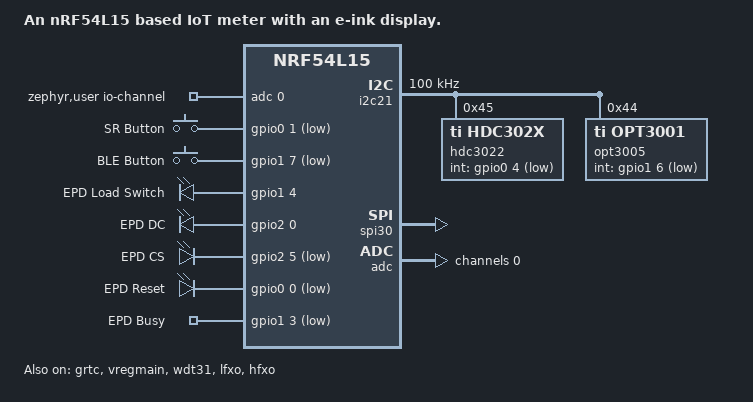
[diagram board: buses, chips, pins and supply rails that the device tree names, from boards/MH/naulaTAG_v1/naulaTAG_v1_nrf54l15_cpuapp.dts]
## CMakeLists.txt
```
#
# Copyright (c) 2026 Nordic Semiconductor
# SPDX-License-Identifier: LicenseRef-Nordic-5-Clause
#
cmake_minimum_required(VERSION 3.20.0)

find_package(Zephyr REQUIRED HINTS $ENV{ZEPHYR_BASE})
project(naulaTAG)

# ── Application sources ────────────────────────────────────────────────
target_sources(app PRIVATE
    src/main.c
    src/display.c
    src/epd_hal.c
    src/epd_cog.c
    src/storage.c
    src/ble.c
)

# ── Include paths ──────────────────────────────────────────────────────
target_include_directories(app PRIVATE
    src
)
```

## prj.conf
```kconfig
#
# naulaTAG project configuration — PRODUCTION
# Target: nRF54L15, IoT temperature/humidity meter with e-ink display
#
# This file is the shipping configuration: no logging, no RTT, no console.  On
# this SoC a build left with debug and logging enabled idles around two orders
# of magnitude above the sleep current, which turns a multi-year battery life
# into months.
#
# For bring-up and debugging, add the overlay:
#     west build -b naulaTAG_v1/nrf54l15/cpuapp -- -DEXTRA_CONF_FILE=overlay-debug.conf
#

# ── GPIO / I2C / SPI ──────────────────────────────────────────────────
CONFIG_GPIO=y
CONFIG_I2C=y
CONFIG_SPI=y
CONFIG_ADC=y

# ── Watchdog ──────────────────────────────────────────────────────────
# Last-resort recovery: the display path can block the system workqueue, and a
# device that stops measuring must reboot itself rather than sit there flat.
CONFIG_WATCHDOG=y

# ── Sensors ───────────────────────────────────────────────────────────
CONFIG_SENSOR=y

# HDC3022 temperature+humidity (NCS 3.x driver)
CONFIG_TI_HDC302X=y

# OPT3005 light sensor (register-compatible with OPT3001).
# Trigger support is deliberately NOT enabled: the threshold interrupt requires
# the sensor to convert continuously (1.8-3.7 uA against 0.3 uA in shutdown) and
# would hold a third GPIOTE channel open.  main.c drives the sensor in
# single-shot mode over I2C instead and reads it every 10 minutes.
CONFIG_OPT300X=y

# ── Persistent storage ────────────────────────────────────────────────
# ZMS rather than NVS: it is designed for non-erasable media like the nRF54L's
# RRAM, where NVS would emulate erases by writing 0xFF and waste write cycles.
CONFIG_FLASH=y
CONFIG_FLASH_MAP=y
CONFIG_FLASH_PAGE_LAYOUT=y
CONFIG_ZMS=y

# ── Power management ──────────────────────────────────────────────────
# CONFIG_PM stays off on purpose — see the comment at the top of main.c.
CONFIG_PM_DEVICE=y
CONFIG_PM_DEVICE_RUNTIME=y

# ── Clocks: use 32.768 kHz XTAL for RTC / low-power sleep ─────────────
CONFIG_CLOCK_CONTROL=y
CONFIG_CLOCK_CONTROL_NRF=y
CONFIG_CLOCK_CONTROL_NRF_K32SRC_XTAL=y
CONFIG_CLOCK_CONTROL_NRF_K32SRC_20PPM=y

# ── Bluetooth ─────────────────────────────────────────────────────────
# Default state is a short non-connectable BTHome v2 burst after each
# measurement; the BLE button opens a 30 s connectable window backed by the
# Environmental Sensing and Battery services.  See ble.c.
CONFIG_BT=y
CONFIG_BT_PERIPHERAL=y
CONFIG_BT_DEVICE_NAME="naulaTAG"
# 768 = Generic Sensor (Bluetooth appearance value)
CONFIG_BT_DEVICE_APPEARANCE=768
CONFIG_BT_MAX_CONN=1

# Battery Service — ble.c pushes a level derived from the SAADC VDD reading.
CONFIG_BT_BAS=y

# ── Stack sizes ───────────────────────────────────────────────────────
CONFIG_SYSTEM_WORKQUEUE_STACK_SIZE=2048
CONFIG_MAIN_STACK_SIZE=2048

# ── No console, no logging, no debug transport ────────────────────────
CONFIG_SERIAL=n
CONFIG_CONSOLE=n
CONFIG_UART_CONSOLE=n
CONFIG_LOG=n
CONFIG_USE_SEGGER_RTT=n
CONFIG_LOG_BACKEND_RTT=n
CONFIG_LOG_BACKEND_UART=n
```

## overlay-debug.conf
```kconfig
#
# naulaTAG — bring-up / debug overlay
#
# Turns the logging that prj.conf strips for production back on, over Segger
# RTT so no pins or UART are needed.  Build with:
#
#     west build -b naulaTAG_v1/nrf54l15/cpuapp -- -DEXTRA_CONF_FILE=overlay-debug.conf
#
# Then attach with `JLinkRTTViewer`, or `west attach` / nRF Connect's terminal.
#
# Do NOT measure battery current with this overlay applied — logging and a live
# debug transport dominate the idle current and the numbers will be meaningless.
# Flash a plain `west build` image for any power measurement.
#

CONFIG_LOG=y
# 0=off 1=ERR 2=WRN 3=INF 4=DBG
CONFIG_LOG_DEFAULT_LEVEL=4

CONFIG_USE_SEGGER_RTT=y
CONFIG_LOG_BACKEND_RTT=y

# Deferred logging keeps the measurement path from blocking on RTT writes; the
# log thread drains the buffer once the workqueue is idle again.
CONFIG_LOG_MODE_DEFERRED=y

# Assertions catch the BTHome payload-length check in ble.c and Zephyr's own
# internal invariants.  Worth the flash during bring-up, not in production.
CONFIG_ASSERT=y

# Fault handlers print a usable register dump and stack trace instead of
# silently resetting.
CONFIG_RESET_ON_FATAL_ERROR=n
CONFIG_THREAD_NAME=y
```

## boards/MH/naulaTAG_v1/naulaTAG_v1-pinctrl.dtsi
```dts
/*
 * Copyright (c) 2026 Nordic Semiconductor ASA
 *
 * SPDX-License-Identifier: LicenseRef-Nordic-5-Clause
 */

#include <dt-bindings/pinctrl/nrf-pinctrl.h>

&pinctrl {
	/* I2C for HDC3022 (0x45) and OPT3005 (0x44)
	 * SDA = P1.10, SCL = P1.12 */
	i2c21_default: i2c21_default {
		group1 {
			psels = <NRF_PSEL(TWIM_SDA, 1, 10)>,
				<NRF_PSEL(TWIM_SCL, 1, 12)>;
			bias-pull-up;
		};
	};
	i2c21_sleep: i2c21_sleep {
		group1 {
			psels = <NRF_PSEL(TWIM_SDA, 1, 10)>,
				<NRF_PSEL(TWIM_SCL, 1, 12)>;
			/* Keep the internal pull-ups on while suspended.  pinctrl's
			 * low-power branch forces dir=input + buffer=disconnect but
			 * still applies the pull, so the nRF draws nothing and the
			 * lines are held high rather than floating.  This board has
			 * no external pull-ups, so without it SDA/SCL float between
			 * measurements and the sensors' input buffers sit mid-rail. */
			bias-pull-up;
			low-power-enable;
		};
	};

	/* SPI for E2206KS0E1 e-ink display
	 * SCK = P2.01, MOSI = P2.02 (CS and DC are software GPIO) */
	spi30_default: spi30_default {
		group1 {
			psels = <NRF_PSEL(SPIM_SCK, 2, 1)>,
					<NRF_PSEL(SPIM_MOSI, 2, 2)>;
			/* High drive is critical for speeds > 8 MHz */
			nordic,drive-mode = <NRF_DRIVE_H0H1>;
		};
	};

	spi30_sleep: spi30_sleep {
		group1 {
			psels = <NRF_PSEL(SPIM_SCK, 2, 1)>,
					<NRF_PSEL(SPIM_MOSI, 2, 2)>;
			low-power-enable;
		};
	};
};
```

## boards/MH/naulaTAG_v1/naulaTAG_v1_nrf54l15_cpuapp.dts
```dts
/dts-v1/;

#include <nordic/nrf54l15_cpuapp.dtsi>
#include <dt-bindings/gpio/gpio.h>
#include "naulaTAG_v1-pinctrl.dtsi"

/ {
	model = "An nRF54L15 based IoT meter with an e-ink display.";
	compatible = "MH,naulaTAG-v1-cpuapp";

	chosen {
		zephyr,code-partition = &slot0_partition;
		zephyr,sram = &cpuapp_sram;
		zephyr,flash = &cpuapp_rram;
		zephyr,flash-controller = &rram_controller;
	};

	aliases {
		sr-button   = &sr_button;
		ble-button  = &ble_button;
		epd-load-sw = &epd_load_sw;
		epd-busy    = &epd_busy;
		epd-dc      = &epd_dc;
		epd-cs      = &epd_cs;
		epd-rst     = &epd_rst;
	};

	/* Consumer node: lets ADC_DT_SPEC_GET resolve channel@0 config from DTS */
	zephyr,user {
		io-channels = <&adc 0>;
	};

	buttons {
		compatible = "gpio-keys";
		/* SRButton: P0.01, active-low with internal pull-up */
		sr_button: sr_button {
			gpios = <&gpio0 1 (GPIO_ACTIVE_LOW | GPIO_PULL_UP)>;
			label = "SR Button";
		};
		/* BLEButton: P1.07, active-low with internal pull-up */
		ble_button: ble_button {
			gpios = <&gpio1 7 (GPIO_ACTIVE_LOW | GPIO_PULL_UP)>;
			label = "BLE Button";
		};
	};

	epd_gpios {
		compatible = "gpio-leds";
		/* Load switch for display power rail: P1.04, active-high */
		epd_load_sw: epd_load_sw {
			gpios = <&gpio1 4 GPIO_ACTIVE_HIGH>;
			label = "EPD Load Switch";
		};
		/* SPI data/command select: P2.00, active-high = data */
		epd_dc: epd_dc {
			gpios = <&gpio2 0 GPIO_ACTIVE_HIGH>;
			label = "EPD DC";
		};
		/* SPI chip-select: P2.05, active-low */
		epd_cs: epd_cs {
			gpios = <&gpio2 5 GPIO_ACTIVE_LOW>;
			label = "EPD CS";
		};
		/* Panel reset RST_N: P0.00, active-low.
		 * Ordinary GPIO on nRF54L15 — unlike nRF52, the reset function is
		 * not routable to it via UICR or GPIO CTRLSEL. */
		epd_rst: epd_rst {
			gpios = <&gpio0 0 GPIO_ACTIVE_LOW>;
			label = "EPD Reset";
		};
	};

	epd_inputs {
		compatible = "gpio-keys";
		/* BUSY_N: P1.03, active-low (panel busy when LOW) */
		epd_busy: epd_busy {
			gpios = <&gpio1 3 GPIO_ACTIVE_LOW>;
			label = "EPD Busy";
		};
	};
};

&grtc {
	owned-channels = <0 1 2 3 4 5 6 7 8 9 10 11>;
	/* Channels 7-11 reserved for Zero Latency IRQs, 3-4 for FLPR */
	child-owned-channels = <3 4 7 8 9 10 11>;
	status = "okay";
};

&cpuapp_sram {
	status = "okay";
};

&cpuapp_rram {
	partitions {
		compatible = "fixed-partitions";
		#address-cells = <1>;
		#size-cells = <1>;

		boot_partition: partition@0 {
			label = "mcuboot";
			reg = <0x0 DT_SIZE_K(64)>;
		};

		slot0_partition: partition@10000 {
			label = "image-0";
			reg = <0x10000 DT_SIZE_K(664)>;
		};

		slot1_partition: partition@b6000 {
			label = "image-1";
			reg = <0xb6000 DT_SIZE_K(664)>;
		};

		storage_partition: partition@15c000 {
			label = "storage";
			reg = <0x15c000 DT_SIZE_K(36)>;
		};
	};
};

/* ── I2C bus ─────────────────────────────────────────────────────────── */
&i2c21 {
	compatible = "nordic,nrf-twim";
	status = "okay";
	pinctrl-0 = <&i2c21_default>;
	pinctrl-1 = <&i2c21_sleep>;
	pinctrl-names = "default", "sleep";
	/* Standard mode (100 kHz), not Fast mode.  naulaTAG_v1 has no external
	 * SDA/SCL pull-ups: the bus is held high only by the nRF internal
	 * pull-ups (~13 kOhm typ).  Into the ~30 pF of bus capacitance that is
	 * a ~330 ns rise time, which exceeds the 300 ns Fast-mode limit but sits
	 * well inside the 1000 ns Standard-mode limit.  Two short sensor reads
	 * every 10 minutes make the extra bus time free.
	 * Fit 10 kOhm external pull-ups to go back to I2C_BITRATE_FAST. */
	clock-frequency = <I2C_BITRATE_STANDARD>;
	zephyr,pm-device-runtime-auto;

	hdc3022: hdc3022@45 {
		compatible = "ti,hdc302x";
		reg = <0x45>;
		int-gpios = <&gpio0 4 GPIO_ACTIVE_LOW>;
		status = "okay";
	};

	opt3005: opt3005@44 {
		compatible = "ti,opt3001";
		reg = <0x44>;
		int-gpios = <&gpio1 6 (GPIO_ACTIVE_LOW | GPIO_PULL_UP)>;
		status = "okay";
	};
};

/* ── SPI bus (CS and DC controlled by software) ─────────────────────── */
&spi30 {
    compatible = "nordic,nrf-spim";
    status = "okay";
    pinctrl-0 = <&spi30_default>;
    pinctrl-1 = <&spi30_sleep>;
    pinctrl-names = "default", "sleep";
    zephyr,pm-device-runtime-auto;

	/* 
    epd: e2206ks0e1@0 {
        compatible = "mh,e2206ks0e1";
        reg = <0>;
        // Cap at 16 MHz to respect the display's limits
        spi-max-frequency = <16000000>;
        
        busy-gpios = <&gpio1 3 GPIO_ACTIVE_HIGH>;
        dc-gpios   = <&gpio2 0 GPIO_ACTIVE_HIGH>;
        cs-gpios   = <&gpio2 5 GPIO_ACTIVE_LOW>;
        
        sck-gpios  = <&gpio2 1 GPIO_ACTIVE_HIGH>;
        mosi-gpios = <&gpio2 2 GPIO_ACTIVE_HIGH>;
    };
	*/
};


/* ── Main supply regulator ───────────────────────────────────────────── */
/*
 * Enable the internal DC/DC (SMPS).  The board fits L2 = 4.7 uH between
 * DCC (pin 46) and DECD (pin 45) for exactly this, but vregmain defaults
 * to status = "disabled" with regulator-initial-mode = LDO, so without
 * this node the SoC runs off the LDO and draws roughly twice the active
 * current — straight off a CR2 primary cell.
 */
&vregmain {
    status = "okay";
    regulator-initial-mode = <NRF5X_REG_MODE_DCDC>;
};

/* ── Watchdog ─────────────────────────────────────────────────────────── */
&wdt31 {
    status = "okay";
};

/* ── Enable GPIO Controllers ─────────────────────────────────────────── */
&gpio0 {
    status = "okay";
};

&gpio1 {
    status = "okay";
};

&gpio2 {
    status = "okay";
};

/* ── Enable GPIOTE (Hardware Interrupts) ─────────────────────────────── */
&gpiote20 {
    status = "okay";
};

&gpiote30 {
    status = "okay";
};

/* ── Enable Hardware Oscillators & Clock Controller ──────────────────── */
&clock {
    status = "okay";
};

/* Internal load capacitors.  The value programmed here is the CRYSTAL's
 * rated load capacitance (CL) — the driver derives the internal cap
 * setting from it.  Over-stating CL loads the crystal too heavily and
 * pulls the frequency low, which is why these must track the BOM. */

/* Y1 = Abracon ABS06N-32.768KHZ-9-T:  CL = 9 pF, +/-20 ppm */
&lfxo {
    status = "okay";
    load-capacitors = "internal";
    load-capacitance-femtofarad = <9000>;
};

/* Y2 = Murata XRCGB32M000F1S2AR0:  CL = 8 pF, 32 MHz */
&hfxo {
    status = "okay";
    load-capacitors = "internal";
    load-capacitance-femtofarad = <8000>;
};

/* ── Enable SAADC Measurements ────────────────────────────────────────── */
&adc {
    status = "okay";
    #address-cells = <1>;
    #size-cells = <0>;

    channel@0 {
        reg = <0>;
        zephyr,gain = "ADC_GAIN_1_6";
        zephyr,reference = "ADC_REF_INTERNAL";
        zephyr,acquisition-time = <ADC_ACQ_TIME_DEFAULT>;
        zephyr,input-positive = <NRF_SAADC_VDD>; /* Crucial: points to internal VDD */
        zephyr,resolution = <12>;
    };
};
```

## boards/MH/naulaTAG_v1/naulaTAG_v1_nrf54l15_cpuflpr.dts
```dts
/dts-v1/;

#include <nordic/nrf54l15_cpuflpr.dtsi>
#include "naulaTAG_v1-pinctrl.dtsi"

/ {
	model = "An nRF54L15 based IoT meter with an e-ink display.";
	compatible = "MH,naulaTAG-v1-cpuflpr";

	chosen {
		zephyr,code-partition = &cpuflpr_code_partition;
		zephyr,flash = &cpuflpr_rram;
		zephyr,sram = &cpuflpr_sram;
	};
};

&cpuflpr_sram {
	status = "okay";
	reg = <0x20028000 DT_SIZE_K(96)>;
	ranges = <0x0 0x20028000 DT_SIZE_K(96)>;
};

&cpuflpr_rram {
	partitions {
		compatible = "fixed-partitions";
		#address-cells = <1>;
		#size-cells = <1>;
		ranges;

		cpuflpr_code_partition: partition@0 {
			label = "image-0";
			reg = <0x0 DT_SIZE_K(96)>;
		};
	};
};

&grtc {
	owned-channels = <3 4>;
	status = "okay";
};
```

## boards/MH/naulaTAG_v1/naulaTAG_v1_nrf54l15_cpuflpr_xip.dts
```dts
#include "naulaTAG_v1_nrf54l15_cpuflpr.dts"

/ {
	compatible = "MH,naulaTAG-v1-cpuflpr-xip";
};

&cpuflpr_sram {
	reg = <0x2002f000 DT_SIZE_K(68)>;
	ranges = <0x0 0x2002f000 DT_SIZE_K(68)>;
};
```

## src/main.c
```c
/*
 * naulaTAG — IoT temperature/humidity/light meter
 *
 * Hardware: nRF54L15-QFAA-R7
 * SRButton  (P0.01) — immediate measurement
 * BLEButton (P1.07) — interactive BLE window
 * HDC3022 (I2C 0x45) — temperature + humidity
 * OPT3005 (I2C 0x44) — ambient light, single-shot (INT on P1.06 unused)
 * E2206KS0E1 (SPI)   — 2.06" e-ink display
 * LoadSwitch (P1.04) — display power rail
 *
 * Power strategy:
 * CPU sleeps indefinitely (k_sleep(K_FOREVER)) and the idle thread drops the
 * core into System ON IDLE via WFI, with RAM and the GRTC retained.  Note that
 * CONFIG_PM is deliberately off: this SoC defines no DT power-states in NCS
 * 3.3, so the PM subsystem would have nothing deeper to select, and the 24 h
 * history plus the 10 min GRTC wakeup both need RAM and the timer alive.
 * Wakeup sources: GPIO interrupt (buttons), GRTC timer (periodic measurement).
 * Display is powered only during screen updates and skipped entirely when
 * ambient light is below DARK_THRESH_LOWER_LUX.
 * BLE beacons a short BTHome burst after each measurement; the button opens a
 * connectable window.  See ble.c.
 */

#include <zephyr/kernel.h>
#include <zephyr/device.h>
#include <zephyr/drivers/gpio.h>
#include <zephyr/drivers/i2c.h>
#include <zephyr/drivers/sensor.h>
#include <zephyr/drivers/adc.h>
#include <zephyr/logging/log.h>
#include <zephyr/pm/device.h>
#include <zephyr/drivers/watchdog.h>

#include <stdlib.h>

#include "ble.h"
#include "display.h"
#include "storage.h"

LOG_MODULE_REGISTER(main, LOG_LEVEL_INF);

/* ── Measurement interval ─────────────────────────────────────────────── */
#define MEASURE_INTERVAL_S  600

/* Button debounce.  Each contact bounce re-arms the delay, so the handler runs
 * once, this long after the last edge.  Without it a bounce arriving while the
 * handler is already running re-queues it — which on the BLE button toggles
 * advertising on and straight back off within a single press. */
#define BUTTON_DEBOUNCE_MS  50

/* Watchdog window.  Fed once per measurement rather than from a periodic tick:
 * a dedicated feeder would have to wake the CPU far more often than the 10 min
 * measurement interval, which is exactly the cost this design avoids.  The
 * margin over MEASURE_INTERVAL_S covers a slow display refresh plus the panel
 * BUSY timeout. */
#define WDT_TIMEOUT_S       (MEASURE_INTERVAL_S + 300)

/* Ambient light hysteresis thresholds (lux).  Hysteresis keeps the display from
 * refreshing every other cycle when the room sits right at the boundary. */
#define DARK_THRESH_LOWER_LUX  3U
#define DARK_THRESH_UPPER_LUX  7U

/* ── OPT3005 conversion control ───────────────────────────────────────── */
/*
 * The Zephyr opt300x driver puts the sensor in CONTINUOUS conversion at init and
 * exposes no way to change that — no PM hooks, no attribute for the mode.  Left
 * alone it converts 24/7 for 1.8 uA in the dark and 3.7 uA in bright light,
 * against 0.3 uA shut down.  On a CR2 that is one of the largest standby terms
 * in the design, and the reading is only used once every 10 minutes.
 *
 * So the mode is driven directly over I2C here.  Config register 0x01, 16-bit
 * big-endian:
 *   [15:12] RN = 0xC  automatic full-scale ranging
 *   [11]    CT = 1    800 ms conversion (better low-light resolution than the
 *                     100 ms setting; the CPU sleeps through it, so it is free)
 *   [10:9]  M         00 shutdown, 01 single-shot, 11 continuous
 *   [4]     L  = 1    latched window comparator (register reset default)
 *
 * Single-shot returns the device to shutdown by itself once the conversion
 * completes, so only the boot-time write is needed to undo the driver's
 * continuous mode; after that each cycle just kicks one conversion.
 */
#define OPT3005_I2C_ADDR        0x44
#define OPT3005_REG_CONFIG      0x01
#define OPT3005_CFG_SHUTDOWN    0xC810
#define OPT3005_CFG_SINGLE_SHOT 0xCA10
/* 800 ms conversion plus margin for the sensor's internal timing. */
#define OPT3005_CONV_WAIT_MS    900

static const struct device *i2c_bus = DEVICE_DT_GET(DT_NODELABEL(i2c21));

static int opt3005_write_config(uint16_t cfg)
{
    /* Register pointer then the value, MSB first. */
    uint8_t buf[3] = {
        OPT3005_REG_CONFIG,
        (uint8_t)(cfg >> 8),
        (uint8_t)(cfg & 0xFF),
    };

    return i2c_write(i2c_bus, buf, sizeof(buf), OPT3005_I2C_ADDR);
}

/* ── Device handles ───────────────────────────────────────────────────── */
static const struct gpio_dt_spec sr_btn =
    GPIO_DT_SPEC_GET(DT_ALIAS(sr_button), gpios);
static const struct gpio_dt_spec ble_btn =
    GPIO_DT_SPEC_GET(DT_ALIAS(ble_button), gpios);
static const struct gpio_dt_spec load_sw =
    GPIO_DT_SPEC_GET(DT_ALIAS(epd_load_sw), gpios);

static const struct device *hdc = DEVICE_DT_GET(DT_NODELABEL(hdc3022));
static const struct device *opt = DEVICE_DT_GET(DT_NODELABEL(opt3005));
static const struct device *wdt = DEVICE_DT_GET(DT_NODELABEL(wdt31));

/* Negative until the watchdog is installed and running. */
static int wdt_channel = -1;

/* ── Work items ────────────────────────────────────────────────────────── */
/*
 * A measurement holds its thread for the whole panel refresh — seconds, and up
 * to the BUSY timeout when the panel misbehaves.  It therefore runs on its own
 * queue, so a button press does not sit behind it.  The priority matches the
 * system workqueue's, keeping preemption behaviour identical; only the queueing
 * changes.
 */
#define MEASURE_WQ_STACK_SIZE  2048

K_THREAD_STACK_DEFINE(measure_wq_stack, MEASURE_WQ_STACK_SIZE);
static struct k_work_q measure_wq;

static struct k_work_delayable measure_work;     /* on measure_wq            */
static struct k_work_delayable ble_button_work;  /* on the system workqueue  */

/* ── Timers ────────────────────────────────────────────────────────────── */
static struct k_timer measure_timer;

/* ── ADC (battery voltage via internal VDD channel) ───────────────────── */
static const struct adc_dt_spec adc_vdd =
    ADC_DT_SPEC_GET(DT_PATH(zephyr_user));

/* ── Measurement state ─────────────────────────────────────────────────── */
static int32_t  last_temp_mdeg  = 0;
static uint32_t last_humid_mpct = 0;
static uint32_t last_lux        = 0;   /* integer lux */
static uint32_t last_voltage_mv = 0;

/* ── 24-hour temperature history (circular buffer) ─────────────────────── */
#define HISTORY_SIZE  DISPLAY_HIST_SIZE   /* 144 × 10 min = 24 h */

static int32_t  temp_hist[HISTORY_SIZE];
static uint16_t hist_head  = 0;   /* next write position    */
static uint16_t hist_count = 0;   /* valid entries, 0..144  */

/* ── Measurement ──────────────────────────────────────────────────────── */
static void do_measure(struct k_work *w)
{
    (void)w;
    int rc;

    /* 0. Feed the watchdog.  Reaching here proves the workqueue is still
     * scheduling; if anything below wedges it, this never runs again and the
     * SoC resets.  Fed at the top so the early return for darkness is covered
     * too. */
    if (wdt_channel >= 0) {
        (void)wdt_feed(wdt, wdt_channel);
    }

    /* 1. Kick the OPT3005 conversion first, so its 800 ms runs concurrently
     * with the reads below instead of serialising after them. */
    bool opt_started = (opt3005_write_config(OPT3005_CFG_SINGLE_SHOT) == 0);
    int64_t opt_kicked_at = k_uptime_get();

    if (!opt_started) {
        LOG_WRN("OPT3005 single-shot trigger failed");
    }

    /* 2. Read temperature and humidity. */
    struct sensor_value temp, humid;

    rc = sensor_sample_fetch(hdc);
    if (rc) {
        LOG_ERR("HDC fetch failed: %d", rc);
    } else {
        sensor_channel_get(hdc, SENSOR_CHAN_AMBIENT_TEMP, &temp);
        sensor_channel_get(hdc, SENSOR_CHAN_HUMIDITY,     &humid);
        last_temp_mdeg  = temp.val1  * 1000 + temp.val2  / 1000;
        last_humid_mpct = humid.val1 * 1000 + humid.val2 / 1000;
    }

    /* 3. Read battery voltage via internal SAADC VDD channel. */
    (void)pm_device_action_run(adc_vdd.dev, PM_DEVICE_ACTION_RESUME);
    {
        int16_t adc_raw = 0;
        struct adc_sequence adc_seq = {
            .buffer      = &adc_raw,
            .buffer_size = sizeof(adc_raw),
        };
        adc_sequence_init_dt(&adc_vdd, &adc_seq);
        rc = adc_read(adc_vdd.dev, &adc_seq);
        if (rc != 0) {
            LOG_WRN("ADC read failed: %d", rc);
        } else if (adc_raw < 0) {
            LOG_WRN("ADC returned negative sample: %d", adc_raw);
        } else {
            /* Derive the scaling from the DT channel rather than hardcoding it:
             * the nRF54L internal reference is 900 mV, not the 600 mV of the
             * nRF52 series, so gain 1/6 gives a 5.4 V full scale. */
            int32_t mv = adc_raw;
            rc = adc_raw_to_millivolts_dt(&adc_vdd, &mv);
            if (rc == 0) {
                last_voltage_mv = (uint32_t)mv;
            } else {
                LOG_WRN("ADC conversion failed: %d", rc);
            }
        }
    }
    /* Suspend explicitly to stop SAADC from leaking ~1mA */
    (void)pm_device_action_run(adc_vdd.dev, PM_DEVICE_ACTION_SUSPEND);

    /* 4. Collect the light reading.  Sleep out whatever is left of the
     * conversion — the CPU idles through it, and the sensor puts itself back
     * into shutdown once the conversion completes. */
    if (opt_started) {
        int64_t elapsed = k_uptime_get() - opt_kicked_at;

        if (elapsed < OPT3005_CONV_WAIT_MS) {
            k_sleep(K_MSEC(OPT3005_CONV_WAIT_MS - elapsed));
        }

        struct sensor_value lux_val = {0};

        rc = sensor_sample_fetch(opt);
        if (rc) {
            LOG_WRN("OPT fetch failed: %d", rc);
        } else {
            sensor_channel_get(opt, SENSOR_CHAN_LIGHT, &lux_val);
            last_lux = (uint32_t)lux_val.val1;
        }
    }

    /* 5. Store temperature in the circular history buffer. */
    temp_hist[hist_head] = last_temp_mdeg;
    hist_head = (hist_head + 1) % HISTORY_SIZE;
    if (hist_count < HISTORY_SIZE) {
        hist_count++;
    }

    (void)storage_update_minmax(last_temp_mdeg);

    /* Persist the history on a slow cadence — hourly at the default interval.
     * Every cycle would be 144 writes/day for data whose value is mostly in the
     * last hour of it. */
    static uint32_t measure_count;
    if ((measure_count % STORAGE_HISTORY_SAVE_EVERY) == 0) {
        (void)storage_save_history(temp_hist, hist_count, hist_head);
    }
    measure_count++;

    LOG_INF("T=%d.%03d°C  RH=%d.%03d%%  L=%u lux  VDD=%u mV",
            (int)(last_temp_mdeg / 1000), (int)(abs(last_temp_mdeg) % 1000),
            (int)(last_humid_mpct / 1000), (int)(last_humid_mpct % 1000),
            last_lux, last_voltage_mv);

    /* 6. Publish over BLE: refreshes the BTHome payload and the GATT values,
     * then beacons a short burst. */
    ble_publish(last_temp_mdeg, last_humid_mpct, last_lux, last_voltage_mv);

    /* 7. Night mode: skip the display entirely if it is too dark to read.
     * Hysteresis is applied against whether the display is currently blanked, so
     * the panel does not flap when the room sits at the threshold. */
    static bool display_blanked;

    if (display_blanked) {
        if (last_lux < DARK_THRESH_UPPER_LUX) {
            LOG_DBG("still dark (%u lux) — display update skipped", last_lux);
            return;
        }
        display_blanked = false;
    } else if (last_lux < DARK_THRESH_LOWER_LUX) {
        LOG_INF("dark (%u lux) — display update skipped", last_lux);
        display_blanked = true;
        return;
    }

    /* 8. Power on display */
    gpio_pin_set_dt(&load_sw, 1);
    k_sleep(K_MSEC(10));

    /* 9. Update display (init on first call).
     * Both steps are retried on the next cycle rather than latched off, so a
     * panel that misses one update recovers by itself. */
    static bool display_initialized = false;
    if (!display_initialized) {
        rc = display_init();
        if (rc) {
            LOG_ERR("display init failed: %d — retrying next cycle", rc);
        } else {
            display_initialized = true;
        }
    }

    if (display_initialized) {
        rc = display_update(last_temp_mdeg, last_humid_mpct,
                            last_voltage_mv,
                            temp_hist, hist_count, hist_head);
        if (rc) {
            LOG_ERR("display update failed: %d — reinitialising next cycle", rc);
            display_initialized = false;
        }
    }

    /* 10. Float every panel-facing pin BEFORE opening the load switch.
     * This is panel protection, not just a power optimisation: a pin left
     * driven at 3 V into an unpowered panel pushes current through the
     * driver's input ESD clamps into the dead VDD rail.  R2-R5 (22 R) do not
     * prevent that, and RST_N has no series resistor at all.  Keep the order. */
    display_power_off();
    gpio_pin_set_dt(&load_sw, 0);
}

/* ── BLE button ───────────────────────────────────────────────────────── */
static void do_ble_button(struct k_work *w)
{
    (void)w;
    ble_start_interactive();
}

/* ── Timer callbacks (run in ISR — only submit work) ─────────────────── */
static void measure_timer_cb(struct k_timer *t)
{
    (void)t;
    /* schedule, not reschedule: never push out a debounce already counting
     * down for a button press — one run serves both. */
    k_work_schedule_for_queue(&measure_wq, &measure_work, K_NO_WAIT);
}

/* ── GPIO interrupt callbacks ─────────────────────────────────────────── */
static struct gpio_callback sr_cb_data;
static struct gpio_callback ble_cb_data;

static void sr_button_isr(const struct device *dev,
                          struct gpio_callback *cb, uint32_t pins)
{
    (void)dev; (void)cb; (void)pins;
    k_work_reschedule_for_queue(&measure_wq, &measure_work,
                                K_MSEC(BUTTON_DEBOUNCE_MS));
}

static void ble_button_isr(const struct device *dev,
                           struct gpio_callback *cb, uint32_t pins)
{
    (void)dev; (void)cb; (void)pins;
    k_work_reschedule(&ble_button_work, K_MSEC(BUTTON_DEBOUNCE_MS));
}

/* ── Main ─────────────────────────────────────────────────────────────── */
int main(void)
{
    /* Load switch first, before anything else can take time.  IC1's ON pin has
     * no external pull-down, so from SoC reset until this line runs it floats
     * and the display rail is in an undefined state — which matters most after
     * a watchdog reset taken mid-refresh.  This shortens that window to the
     * Zephyr init sequence; only a ~100 k pull-down on the LoadSwitch net
     * closes it completely. */
    gpio_pin_configure_dt(&load_sw, GPIO_OUTPUT_INACTIVE);

    LOG_INF("naulaTAG starting");

    /* Undo the opt300x driver's continuous-conversion init.  Every reading from
     * here on is an explicit single shot. */
    if (device_is_ready(i2c_bus)) {
        if (opt3005_write_config(OPT3005_CFG_SHUTDOWN) != 0) {
            LOG_WRN("OPT3005 shutdown write failed — sensor may stay continuous");
        }
    } else {
        LOG_ERR("I2C bus not ready");
    }

    if (device_is_ready(adc_vdd.dev)) {
        (void)pm_device_action_run(adc_vdd.dev, PM_DEVICE_ACTION_SUSPEND);
    }

    /* Persistent history and all-time extremes. */
    if (storage_init() == 0) {
        uint16_t count, head;

        if (storage_load_history(temp_hist, &count, &head) == 0) {
            hist_count = count;
            hist_head = head;
        }
    } else {
        LOG_WRN("storage unavailable — history will not persist");
    }

    /* Buttons: input with interrupt on falling edge (active-low) */
    gpio_pin_configure_dt(&sr_btn,  GPIO_INPUT);
    gpio_pin_configure_dt(&ble_btn, GPIO_INPUT);

    gpio_pin_interrupt_configure_dt(&sr_btn,  GPIO_INT_EDGE_FALLING);
    gpio_pin_interrupt_configure_dt(&ble_btn, GPIO_INT_EDGE_FALLING);

    gpio_init_callback(&sr_cb_data,  sr_button_isr,  BIT(sr_btn.pin));
    gpio_init_callback(&ble_cb_data, ble_button_isr, BIT(ble_btn.pin));

    gpio_add_callback(sr_btn.port,  &sr_cb_data);
    gpio_add_callback(ble_btn.port, &ble_cb_data);

    /* Work items.  The measurement queue must exist before any timer or
     * interrupt can schedule onto it. */
    k_work_queue_start(&measure_wq, measure_wq_stack,
                       K_THREAD_STACK_SIZEOF(measure_wq_stack),
                       CONFIG_SYSTEM_WORKQUEUE_PRIORITY, NULL);

    k_work_init_delayable(&measure_work,    do_measure);
    k_work_init_delayable(&ble_button_work, do_ble_button);

    /* Periodic measurement timer */
    k_timer_init(&measure_timer, measure_timer_cb, NULL);
    k_timer_start(&measure_timer, K_SECONDS(1), K_SECONDS(MEASURE_INTERVAL_S));

    /* Watchdog: install before anything can block, but after the timers exist
     * so the first feed is only a second away.  Pauses under a debugger. */
    if (!device_is_ready(wdt)) {
        LOG_ERR("watchdog not ready — running unprotected");
    } else {
        struct wdt_timeout_cfg wdt_cfg = {
            .window   = { .min = 0U, .max = WDT_TIMEOUT_S * 1000U },
            .callback = NULL,
            .flags    = WDT_FLAG_RESET_SOC,
        };

        wdt_channel = wdt_install_timeout(wdt, &wdt_cfg);
        if (wdt_channel < 0) {
            LOG_ERR("wdt_install_timeout failed: %d", wdt_channel);
        } else if (wdt_setup(wdt, WDT_OPT_PAUSE_HALTED_BY_DBG) != 0) {
            LOG_ERR("wdt_setup failed — running unprotected");
            wdt_channel = -1;
        } else {
            LOG_INF("watchdog armed, %d s", WDT_TIMEOUT_S);
        }
    }

    (void)ble_init();

    /* A failure here leaves the battery reading at 0 mV for the whole session,
     * so it must be visible rather than silent. */
    if (!adc_is_ready_dt(&adc_vdd)) {
        LOG_ERR("ADC device not ready — battery voltage unavailable");
    } else {
        int rc = adc_channel_setup_dt(&adc_vdd);

        if (rc) {
            LOG_ERR("ADC channel setup failed: %d", rc);
        }
    }

    /* Sleep forever — woken by GPIO interrupts or timers. */
    k_sleep(K_FOREVER);
    return 0;
}
```

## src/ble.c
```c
/*
 * BTHome v2 beacon + Environmental Sensing / Battery GATT.  See ble.h.
 */

#include "ble.h"

#include <zephyr/kernel.h>
#include <zephyr/bluetooth/bluetooth.h>
#include <zephyr/bluetooth/conn.h>
#include <zephyr/bluetooth/gatt.h>
#include <zephyr/bluetooth/uuid.h>
#include <zephyr/bluetooth/services/bas.h>
#include <zephyr/logging/log.h>
#include <zephyr/sys/byteorder.h>

#include <string.h>

LOG_MODULE_REGISTER(ble, LOG_LEVEL_INF);

/* ── Timing ─────────────────────────────────────────────────────────────── */

/* Long enough that a hub almost certainly catches one packet, short enough that
 * the radio is off for >99% of the measurement interval. */
#define BEACON_BURST_MS       3000
#define INTERACTIVE_MS       30000

/* ── BTHome v2 ──────────────────────────────────────────────────────────── */
/*
 * Service data under UUID 0xFCD2.  Layout is a device-information byte followed
 * by (object id, little-endian value) pairs which MUST be in ascending object-id
 * order — receivers rely on that to skip object ids they do not know.
 *
 * Object ids, types and factors per the BTHome v2 spec:
 *   0x00 packet id    uint8    x1
 *   0x01 battery      uint8    x1      %
 *   0x02 temperature  sint16   x0.01   deg C
 *   0x03 humidity     uint16   x0.01   %
 *   0x05 illuminance  uint24   x0.01   lux
 *   0x0C voltage      uint16   x0.001  V
 */
#define BTHOME_UUID16          0xFCD2
/* bit0 encryption=0, bit2 trigger=0, bits5-7 version=2 */
#define BTHOME_DEVICE_INFO     0x40

#define BTHOME_ID_PACKET       0x00
#define BTHOME_ID_BATTERY      0x01
#define BTHOME_ID_TEMPERATURE  0x02
#define BTHOME_ID_HUMIDITY     0x03
#define BTHOME_ID_ILLUMINANCE  0x05
#define BTHOME_ID_VOLTAGE      0x0C

/* 1 + 2 + 2 + 3 + 3 + 4 + 3.  With the 2-byte UUID and the AD header this is 22
 * of the 31 legacy advertising bytes, which is why the beacon carries no device
 * name — it would need 10 more and BTHome does not need it (hubs key off the
 * address).  The name rides in the interactive advertisement instead. */
#define BTHOME_PAYLOAD_LEN     18

static uint8_t bthome_payload[BTHOME_PAYLOAD_LEN];
static uint8_t bthome_packet_id;

/* Illuminance is uint24 in centi-lux, so this is the largest value that fits. */
#define ILLUMINANCE_CENTI_MAX  0xFFFFFFU

static void bthome_build(int32_t temp_mdeg, uint32_t humid_mpct,
			 uint32_t lux, uint32_t vdd_mv, uint8_t battery_pct)
{
	/* Round to the stored resolution rather than truncating, so 23.999 C reads
	 * as 24.00 rather than 23.99. */
	int32_t t_centi = (temp_mdeg >= 0) ? (temp_mdeg + 5) / 10 : (temp_mdeg - 5) / 10;
	uint32_t h_centi = (humid_mpct + 5) / 10;
	uint32_t l_centi = lux;
	uint8_t *p = bthome_payload;

	if (t_centi > INT16_MAX) {
		t_centi = INT16_MAX;
	} else if (t_centi < INT16_MIN) {
		t_centi = INT16_MIN;
	}
	if (h_centi > UINT16_MAX) {
		h_centi = UINT16_MAX;
	}
	/* lux -> centi-lux can overflow uint24 above ~167 klx; clamp instead. */
	if (l_centi > ILLUMINANCE_CENTI_MAX / 100U) {
		l_centi = ILLUMINANCE_CENTI_MAX;
	} else {
		l_centi *= 100U;
	}
	if (vdd_mv > UINT16_MAX) {
		vdd_mv = UINT16_MAX;
	}

	*p++ = BTHOME_DEVICE_INFO;

	/* One id per measurement, repeated across the burst, so a hub collapses the
	 * duplicate packets into a single update. */
	*p++ = BTHOME_ID_PACKET;
	*p++ = bthome_packet_id++;

	*p++ = BTHOME_ID_BATTERY;
	*p++ = battery_pct;

	*p++ = BTHOME_ID_TEMPERATURE;
	sys_put_le16((uint16_t)(int16_t)t_centi, p);
	p += 2;

	*p++ = BTHOME_ID_HUMIDITY;
	sys_put_le16((uint16_t)h_centi, p);
	p += 2;

	*p++ = BTHOME_ID_ILLUMINANCE;
	*p++ = (uint8_t)(l_centi & 0xFF);
	*p++ = (uint8_t)((l_centi >> 8) & 0xFF);
	*p++ = (uint8_t)((l_centi >> 16) & 0xFF);

	*p++ = BTHOME_ID_VOLTAGE;
	sys_put_le16((uint16_t)vdd_mv, p);
	p += 2;

	__ASSERT(p == bthome_payload + BTHOME_PAYLOAD_LEN,
		 "BTHome payload length mismatch");
}

/* ── Advertising data ───────────────────────────────────────────────────── */

/*
 * BT_DATA_BYTES cannot express a runtime buffer, so the service-data element is
 * built by hand: 2 bytes of little-endian UUID followed by the payload.
 */
static uint8_t svc_data[2 + BTHOME_PAYLOAD_LEN];

/* Guards the beacon against a future field being added past the legacy limit:
 * the element costs a length byte and a type byte on top of the buffer. */
BUILD_ASSERT(2 + sizeof(svc_data) <= 31,
	     "BTHome service data element exceeds the 31-byte legacy adv limit");

static struct bt_data ad_beacon_rt[] = {
	{ .type = BT_DATA_SVC_DATA16,
	  .data_len = sizeof(svc_data),
	  .data = svc_data },
};

/*
 * Legacy advertising allows 31 bytes, and flags (3) + name (10) + BTHome service
 * data (22) is 35.  Since interactive mode is connectable it is also scannable,
 * so the service data goes in the scan response: a phone sees the name in the
 * advertisement, and nothing is lost.
 */
static const struct bt_data ad_interactive[] = {
	BT_DATA_BYTES(BT_DATA_FLAGS, (BT_LE_AD_GENERAL | BT_LE_AD_NO_BREDR)),
	BT_DATA(BT_DATA_NAME_COMPLETE, CONFIG_BT_DEVICE_NAME,
		sizeof(CONFIG_BT_DEVICE_NAME) - 1),
};

static struct bt_data sd_interactive[] = {
	{ .type = BT_DATA_SVC_DATA16,
	  .data_len = sizeof(svc_data),
	  .data = svc_data },
};

/*
 * USE_IDENTITY on both: hubs identify a BTHome device by its Bluetooth address,
 * so a rotating private address would make it reappear as a new device.  With
 * CONFIG_BT_PRIVACY off this is already the behaviour, but stating it means a
 * later privacy build cannot silently break the integration.
 */
#define ADV_BEACON_PARAM                                                       \
	BT_LE_ADV_PARAM(BT_LE_ADV_OPT_USE_IDENTITY,                            \
			BT_GAP_ADV_SLOW_INT_MIN, BT_GAP_ADV_SLOW_INT_MAX, NULL)

#define ADV_INTERACTIVE_PARAM                                                  \
	BT_LE_ADV_PARAM(BT_LE_ADV_OPT_CONN | BT_LE_ADV_OPT_USE_IDENTITY,       \
			BT_GAP_ADV_FAST_INT_MIN_2, BT_GAP_ADV_FAST_INT_MAX_2, NULL)

/* ── State ──────────────────────────────────────────────────────────────── */

enum adv_state {
	ADV_OFF,
	ADV_BEACON,
	ADV_INTERACTIVE,
};

static enum adv_state adv_state;
static bool ready;
static uint8_t conn_count;

static void adv_stop_work_fn(struct k_work *work);
static K_WORK_DELAYABLE_DEFINE(adv_stop_work, adv_stop_work_fn);

/* Guards the advertising state against the measurement thread and the button
 * work racing each other. */
static K_MUTEX_DEFINE(adv_lock);

/* ── Cached sensor values for GATT reads ────────────────────────────────── */

static int16_t  ess_temp_centi;   /* 0.01 deg C, sint16  */
static uint16_t ess_humid_centi;  /* 0.01 %,     uint16  */
static uint32_t ess_illum_centi;  /* 0.01 lux,   uint24  */

static ssize_t read_u16(struct bt_conn *conn, const struct bt_gatt_attr *attr,
			void *buf, uint16_t len, uint16_t offset)
{
	uint8_t le[2];

	sys_put_le16(*(const uint16_t *)attr->user_data, le);
	return bt_gatt_attr_read(conn, attr, buf, len, offset, le, sizeof(le));
}

static ssize_t read_u24(struct bt_conn *conn, const struct bt_gatt_attr *attr,
			void *buf, uint16_t len, uint16_t offset)
{
	uint32_t v = *(const uint32_t *)attr->user_data;
	uint8_t le[3] = {
		(uint8_t)(v & 0xFF),
		(uint8_t)((v >> 8) & 0xFF),
		(uint8_t)((v >> 16) & 0xFF),
	};

	return bt_gatt_attr_read(conn, attr, buf, len, offset, le, sizeof(le));
}

/* Illuminance (0x2AFB) has no BT_UUID_* macro in this SDK. */
#define BT_UUID_ILLUMINANCE  BT_UUID_DECLARE_16(0x2AFB)

BT_GATT_SERVICE_DEFINE(ess_svc,
	BT_GATT_PRIMARY_SERVICE(BT_UUID_ESS),

	BT_GATT_CHARACTERISTIC(BT_UUID_TEMPERATURE,
			       BT_GATT_CHRC_READ | BT_GATT_CHRC_NOTIFY,
			       BT_GATT_PERM_READ,
			       read_u16, NULL, &ess_temp_centi),
	BT_GATT_CCC(NULL, BT_GATT_PERM_READ | BT_GATT_PERM_WRITE),

	BT_GATT_CHARACTERISTIC(BT_UUID_HUMIDITY,
			       BT_GATT_CHRC_READ | BT_GATT_CHRC_NOTIFY,
			       BT_GATT_PERM_READ,
			       read_u16, NULL, &ess_humid_centi),
	BT_GATT_CCC(NULL, BT_GATT_PERM_READ | BT_GATT_PERM_WRITE),

	BT_GATT_CHARACTERISTIC(BT_UUID_ILLUMINANCE,
			       BT_GATT_CHRC_READ | BT_GATT_CHRC_NOTIFY,
			       BT_GATT_PERM_READ,
			       read_u24, NULL, &ess_illum_centi),
	BT_GATT_CCC(NULL, BT_GATT_PERM_READ | BT_GATT_PERM_WRITE),
);

/* ── Battery estimate ───────────────────────────────────────────────────── */
/*
 * A CR2 (Li-MnO2) holds ~2.9-3.0 V for most of its life then falls off a cliff,
 * so no linear map from open-circuit voltage is honest.  This table is shaped to
 * that curve: nearly flat at the top, steep at the bottom.  It is still only an
 * estimate — measuring the sag under the display-refresh load would track the
 * cell's rising internal resistance and give a far better state of charge.
 */
static uint8_t battery_percent(uint32_t mv)
{
	static const struct { uint16_t mv; uint8_t pct; } curve[] = {
		{ 3050, 100 }, { 3000, 90 }, { 2950, 75 }, { 2900, 60 },
		{ 2850, 45 },  { 2800, 30 }, { 2700, 15 }, { 2600, 5 },
		{ 2400, 0 },
	};

	if (mv >= curve[0].mv) {
		return 100;
	}
	for (size_t i = 1; i < ARRAY_SIZE(curve); i++) {
		if (mv >= curve[i].mv) {
			/* Linear inside the bracket we landed in. */
			uint32_t span_mv = curve[i - 1].mv - curve[i].mv;
			uint32_t span_pct = curve[i - 1].pct - curve[i].pct;

			return (uint8_t)(curve[i].pct +
					 ((mv - curve[i].mv) * span_pct + span_mv / 2) / span_mv);
		}
	}
	return 0;
}

/* ── Advertising control ────────────────────────────────────────────────── */

/* Caller must hold adv_lock. */
static int adv_restart(enum adv_state want)
{
	const struct bt_data *ad;
	size_t ad_len;
	int rc;

	if (adv_state != ADV_OFF) {
		rc = bt_le_adv_stop();
		if (rc) {
			LOG_WRN("bt_le_adv_stop: %d", rc);
		}
		adv_state = ADV_OFF;
	}

	if (want == ADV_OFF) {
		return 0;
	}

	if (want == ADV_INTERACTIVE) {
		ad = ad_interactive;
		ad_len = ARRAY_SIZE(ad_interactive);
		rc = bt_le_adv_start(ADV_INTERACTIVE_PARAM, ad, ad_len,
				     sd_interactive, ARRAY_SIZE(sd_interactive));
	} else {
		ad = ad_beacon_rt;
		ad_len = ARRAY_SIZE(ad_beacon_rt);
		rc = bt_le_adv_start(ADV_BEACON_PARAM, ad, ad_len, NULL, 0);
	}

	if (rc) {
		LOG_ERR("bt_le_adv_start(%d): %d", (int)want, rc);
		return rc;
	}

	adv_state = want;
	return 0;
}

static void adv_stop_work_fn(struct k_work *work)
{
	ARG_UNUSED(work);

	k_mutex_lock(&adv_lock, K_FOREVER);

	/* A live connection outlives its advertising window — dropping the link
	 * because a timer expired would be hostile. */
	if (conn_count > 0) {
		k_work_reschedule(&adv_stop_work, K_MSEC(INTERACTIVE_MS));
		k_mutex_unlock(&adv_lock);
		return;
	}

	(void)adv_restart(ADV_OFF);
	k_mutex_unlock(&adv_lock);
}

/* ── Connection callbacks ───────────────────────────────────────────────── */

static void on_connected(struct bt_conn *conn, uint8_t err)
{
	if (err) {
		LOG_ERR("BLE connect error %u", err);
		return;
	}

	k_mutex_lock(&adv_lock, K_FOREVER);
	conn_count++;
	/* The controller stops advertising on connect. */
	adv_state = ADV_OFF;
	k_mutex_unlock(&adv_lock);

	LOG_INF("BLE connected");
}

static void on_disconnected(struct bt_conn *conn, uint8_t reason)
{
	LOG_INF("BLE disconnected (reason %u)", reason);

	k_mutex_lock(&adv_lock, K_FOREVER);
	if (conn_count > 0) {
		conn_count--;
	}
	/* Give the user another window to reconnect, then fall silent. */
	(void)adv_restart(ADV_INTERACTIVE);
	k_work_reschedule(&adv_stop_work, K_MSEC(INTERACTIVE_MS));
	k_mutex_unlock(&adv_lock);
}

BT_CONN_CB_DEFINE(conn_cbs) = {
	.connected = on_connected,
	.disconnected = on_disconnected,
};

/* ── Public API ─────────────────────────────────────────────────────────── */

int ble_init(void)
{
	int rc;

	/* Publish something valid before the radio comes up, so a hub that catches
	 * the very first burst does not read zeros. */
	svc_data[0] = (uint8_t)(BTHOME_UUID16 & 0xFF);
	svc_data[1] = (uint8_t)(BTHOME_UUID16 >> 8);
	bthome_build(0, 0, 0, 0, 0);
	memcpy(&svc_data[2], bthome_payload, sizeof(bthome_payload));

	rc = bt_enable(NULL);
	if (rc) {
		LOG_ERR("bt_enable failed: %d", rc);
		return rc;
	}

	ready = true;
	LOG_INF("BLE ready (BTHome v2 beacon + ESS/BAS)");
	return 0;
}

void ble_publish(int32_t temp_mdeg, uint32_t humid_mpct, uint32_t lux, uint32_t vdd_mv)
{
	uint8_t pct = battery_percent(vdd_mv);
	uint32_t l_centi;

	if (!ready) {
		return;
	}

	/* GATT cache (read back by a connected client). */
	ess_temp_centi = (int16_t)((temp_mdeg >= 0) ? (temp_mdeg + 5) / 10
						   : (temp_mdeg - 5) / 10);
	ess_humid_centi = (uint16_t)((humid_mpct + 5) / 10);
	l_centi = (lux > ILLUMINANCE_CENTI_MAX / 100U) ? ILLUMINANCE_CENTI_MAX : lux * 100U;
	ess_illum_centi = l_centi;

	(void)bt_bas_set_battery_level(pct);

	bthome_build(temp_mdeg, humid_mpct, lux, vdd_mv, pct);
	memcpy(&svc_data[2], bthome_payload, sizeof(bthome_payload));

	k_mutex_lock(&adv_lock, K_FOREVER);

	if (adv_state == ADV_INTERACTIVE || conn_count > 0) {
		/* Leave the interactive window alone; just refresh what it carries so a
		 * phone sitting on the connection sees live values. */
		if (adv_state == ADV_INTERACTIVE) {
			int rc = bt_le_adv_update_data(ad_interactive,
						       ARRAY_SIZE(ad_interactive),
						       sd_interactive,
						       ARRAY_SIZE(sd_interactive));
			if (rc) {
				LOG_WRN("adv update failed: %d", rc);
			}
		}
	} else {
		if (adv_restart(ADV_BEACON) == 0) {
			k_work_reschedule(&adv_stop_work, K_MSEC(BEACON_BURST_MS));
		}
	}

	k_mutex_unlock(&adv_lock);
}

void ble_start_interactive(void)
{
	if (!ready) {
		return;
	}

	k_mutex_lock(&adv_lock, K_FOREVER);
	if (adv_restart(ADV_INTERACTIVE) == 0) {
		k_work_reschedule(&adv_stop_work, K_MSEC(INTERACTIVE_MS));
		LOG_INF("interactive advertising, %d s", INTERACTIVE_MS / 1000);
	}
	k_mutex_unlock(&adv_lock);
}
```

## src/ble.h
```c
/*
 * Bluetooth for naulaTAG.
 *
 * Two roles, because they serve different consumers:
 *
 *   BEACON (default) — a short non-connectable burst of BTHome v2 service data
 *     after every measurement.  Home Assistant's BTHome integration picks this
 *     up with no custom code, so the device logs itself to a hub without anyone
 *     touching it.  Bursting rather than beaconing continuously matters: the
 *     data only changes every 10 minutes, so advertising continuously would
 *     spend current re-sending values nobody has not already seen.  A few
 *     packets per measurement costs well under 0.1 uA averaged.
 *
 *   INTERACTIVE (on button press) — 30 s of fast connectable advertising
 *     carrying the device name, with the Environmental Sensing and Battery
 *     services readable over the connection.  This is the "point a phone at it"
 *     path, and it is the only mode that is connectable.
 *
 * The two are mutually exclusive; a button press during a beacon burst takes
 * over, and the burst is not restored (the next measurement starts another).
 */

#ifndef NAULATAG_BLE_H
#define NAULATAG_BLE_H

#include <stdbool.h>
#include <stdint.h>

/** @brief Enable the controller and register the GATT services. */
int ble_init(void);

/**
 * @brief Publish a new measurement.
 *
 * Refreshes the BTHome payload and the GATT characteristic values, then starts
 * a beacon burst.  If an interactive session is in progress the advertisement
 * data is updated in place instead, so a connected phone sees live values.
 *
 * @param temp_mdeg   Temperature in milli-degrees C.
 * @param humid_mpct  Relative humidity in milli-percent.
 * @param lux         Illuminance in lux.
 * @param vdd_mv      Supply voltage in millivolts.
 */
void ble_publish(int32_t temp_mdeg, uint32_t humid_mpct, uint32_t lux, uint32_t vdd_mv);

/** @brief Start (or restart) a 30 s interactive advertising window. */
void ble_start_interactive(void);

#endif /* NAULATAG_BLE_H */
```

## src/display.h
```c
/*
 * C interface to the e-ink display (E2206KS0E1, 2.06").
 * Call display_init() once, then display_update() each time the screen
 * needs refreshing.  The load switch must be asserted externally before
 * calling and de-asserted after it returns.
 */
#pragma once

#ifdef __cplusplus
extern "C" {
#endif

/*
 * Initialise the display driver and read OTP from the panel.
 * Must be called while the load switch is ON (display powered).
 * Returns 0 on success, negative errno on failure — -EIO if the panel did not
 * return a valid OTP marker, which generally means it is absent or unpowered.
 * On failure the driver stays disabled; call again on the next cycle to retry.
 */
int display_init(void);

/*
 * Render all sensor data and push to the display.
 *
 *  temp_mdeg  : temperature in milli-degrees Celsius (e.g. 23500 = 23.5 °C)
 *  humid_mpct : relative humidity in milli-percent  (e.g. 45000 = 45.0 %)
 *  voltage_mv : supply voltage in millivolts         (e.g. 3024  = 3.02 V)
 *  temp_hist  : circular buffer of past temp_mdeg readings (may be NULL if
 *               hist_count == 0)
 *  hist_count : number of valid entries in temp_hist (0 .. DISPLAY_HIST_SIZE)
 *  hist_head  : next-write index in temp_hist; oldest entry is at
 *               (hist_head - hist_count + DISPLAY_HIST_SIZE) % DISPLAY_HIST_SIZE
 *
 * The display driver automatically sets the temperature register so the panel
 * waveform matches the ambient temperature for best contrast.
 *
 * Returns 0 on success, negative errno on failure — -ETIMEDOUT if the panel
 * never released BUSY, -ENODEV if display_init() has not succeeded.  A failure
 * leaves the panel contents undefined; the next call repaints in full.
 */
#define DISPLAY_HIST_SIZE  144

int display_update(int32_t temp_mdeg, uint32_t humid_mpct,
                   uint32_t voltage_mv,
                   const int32_t *temp_hist, uint16_t hist_count,
                   uint16_t hist_head);

/* * Disconnect logic pins to prevent back-power leakage into the EPD.
 * Call immediately before disabling the load switch.
 */
void display_power_off(void);

#ifdef __cplusplus
}
#endif
```
